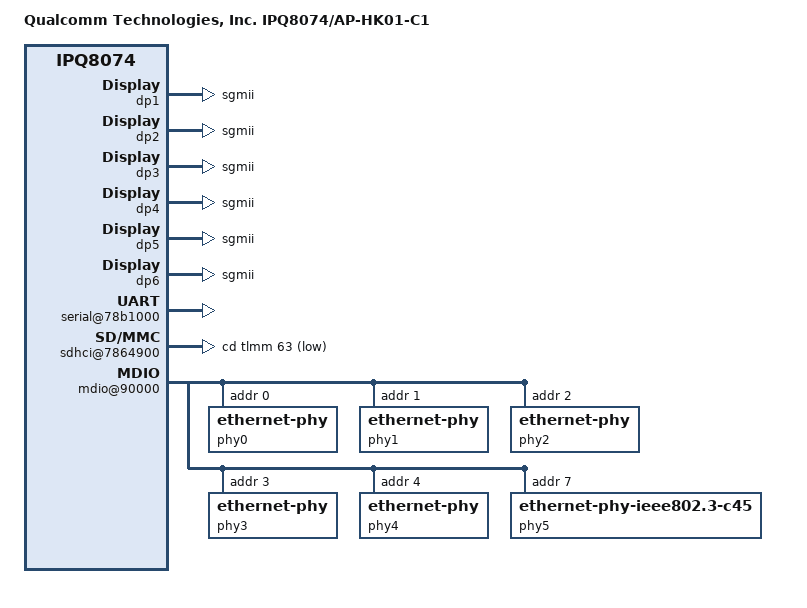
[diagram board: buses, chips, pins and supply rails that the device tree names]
// SPDX-License-Identifier: GPL-2.0-only
/dts-v1/;
/* Copyright (c) 2017, 2020, The Linux Foundation. All rights reserved.
 */
#include "ipq8074-hk01.dtsi"
#include "ipq8074-audio.dtsi"

/ {
	model = "Qualcomm Technologies, Inc. IPQ8074/AP-HK01-C1";
	compatible = "qcom,ipq8074-ap-hk01-c1", "qcom,ipq8074-hk01", "qcom,ipq8074";

	aliases {
		serial1 = &blsp1_uart3;
	};

	soc {
		dp1 {
			device_type = "network";
			compatible = "qcom,nss-dp";
			qcom,id = <1>;
			reg = <0x3a001000 0x200>;
			qcom,mactype = <0>;
			local-mac-address = [000000000000];
			qcom,link-poll = <1>;
			qcom,phy-mdio-addr = <0>;
			phy-mode = "sgmii";
		};

		dp2 {
			device_type = "network";
			compatible = "qcom,nss-dp";
			qcom,id = <2>;
			reg = <0x3a001200 0x200>;
			qcom,mactype = <0>;
			local-mac-address = [000000000000];
			qcom,link-poll = <1>;
			qcom,phy-mdio-addr = <1>;
			phy-mode = "sgmii";
		};

		dp3 {
			device_type = "network";
			compatible = "qcom,nss-dp";
			qcom,id = <3>;
			reg = <0x3a001400 0x200>;
			qcom,mactype = <0>;
			local-mac-address = [000000000000];
			qcom,link-poll = <1>;
			qcom,phy-mdio-addr = <2>;
			phy-mode = "sgmii";
		};

		dp4 {
			device_type = "network";
			compatible = "qcom,nss-dp";
			qcom,id = <4>;
			reg = <0x3a001600 0x200>;
			qcom,mactype = <0>;
			local-mac-address = [000000000000];
			qcom,link-poll = <1>;
			qcom,phy-mdio-addr = <3>;
			phy-mode = "sgmii";
		};

		dp5 {
			device_type = "network";
			compatible = "qcom,nss-dp";
			qcom,id = <5>;
			reg = <0x3a001800 0x200>;
			qcom,mactype = <0>;
			local-mac-address = [000000000000];
			qcom,link-poll = <1>;
			qcom,phy-mdio-addr = <4>;
			phy-mode = "sgmii";
		};

		dp6 {
			device_type = "network";
			compatible = "qcom,nss-dp";
			qcom,id = <6>;
			reg = <0x3a007000 0x3fff>;
			qcom,mactype = <1>;
			local-mac-address = [000000000000];
			qcom,link-poll = <1>;
			qcom,phy-mdio-addr = <7>;
			phy-mode = "sgmii";
		};

		serial@78b1000 {
			 status = "ok";
		};

		sd-pwrseq {
			status = "ok";
		};

		sdhci@7864900 {
			pinctrl-0 = <&sd_pins>;
			pinctrl-names = "default";
			cd-gpios = <&tlmm 63 GPIO_ACTIVE_LOW>;
			status = "ok";
		};

		mdio@90000 {
			pinctrl-0 = <&mdio_pins>;
			pinctrl-names = "default";
			phy-reset-gpio = <&tlmm 37 0>;
			phy0: ethernet-phy@0 {
				reg = <0>;
			};
			phy1: ethernet-phy@1 {
				reg = <1>;
			};
			phy2: ethernet-phy@2 {
				reg = <2>;
			};
			phy3: ethernet-phy@3 {
				reg = <3>;
			};
			phy4: ethernet-phy@4 {
				reg = <4>;
			};
			phy5: ethernet-phy@5 {
				compatible ="ethernet-phy-ieee802.3-c45";
				reg = <7>;
			};
		};

		ess-switch@3a000000 {
			switch_cpu_bmp = <0x1>;  /* cpu port bitmap */
			switch_lan_bmp = <0x3e>; /* lan port bitmap */
			switch_wan_bmp = <0x40>; /* wan port bitmap */
			switch_mac_mode = <0x0>; /* mac mode for uniphy instance0*/
			switch_mac_mode1 = <0xff>; /* mac mode for uniphy instance1*/
			switch_mac_mode2 = <0xd>; /* mac mode for uniphy instance2*/
			bm_tick_mode = <0>; /* bm tick mode */
			tm_tick_mode = <0>; /* tm tick mode */
		};

		pwm {
			pinctrl-0 = <&pwm_pins>;
			pinctrl-names = "default";
			used-pwm-indices = <1>, <0>, <0>, <0>;
			status = "disabled";
		};

		qti_mdss_qpic@7980000 {
			status = "ok";
		};

		qti_mdss_qpic_panel {
			status = "ok";
		};
	};
};
